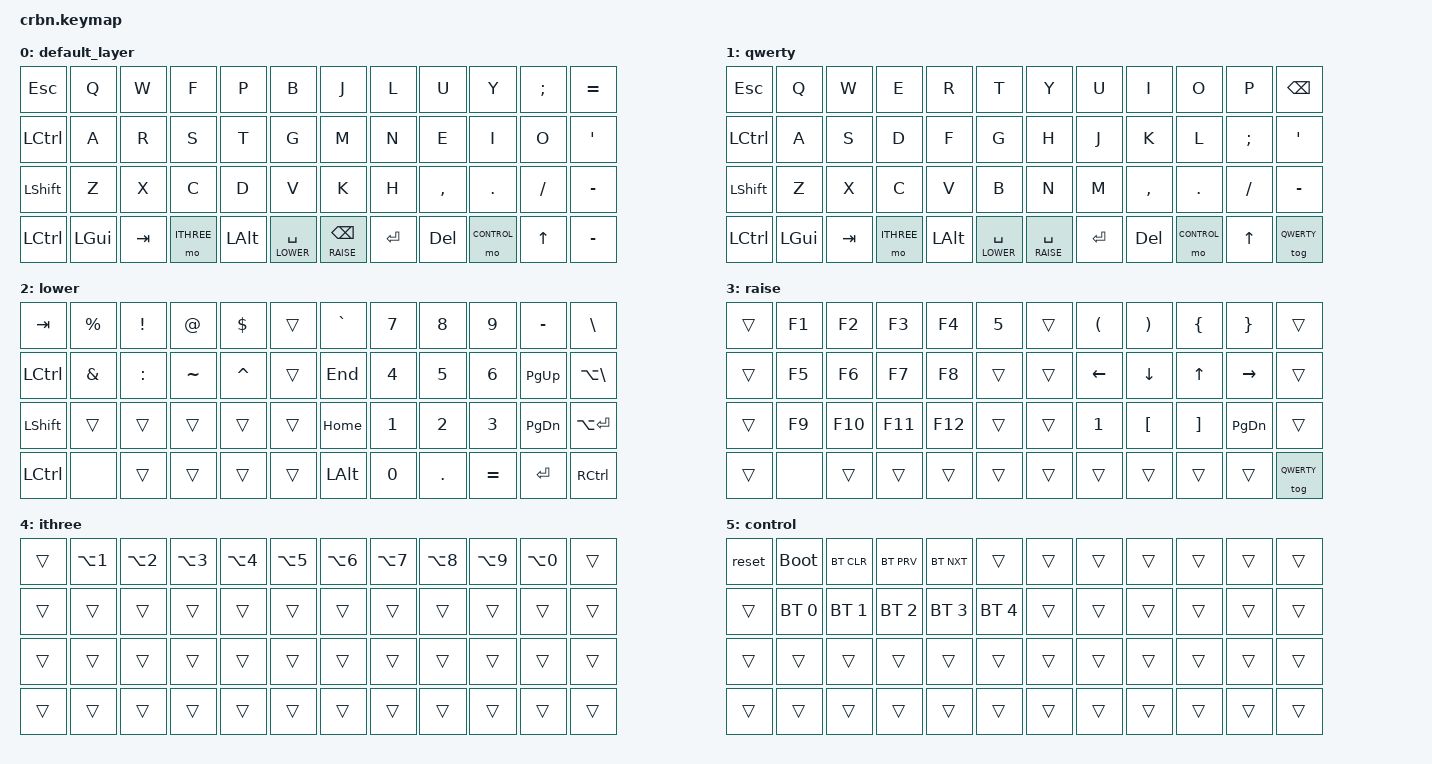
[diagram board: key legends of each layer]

/*
    ____ ____  ____  _   _   _  ____  __ ____
   / ___|  _ \| __ )| \ | | | |/ /  \/  |  _ \
  | |   | |_) |  _ \|  \| | | ' /| |\/| | |_) |
  | |___|  _ <| |_) | |\  | | . \| |  | |  __/
   \____|_| \_\____/|_| \_| |_|\_\_|  |_|_|

 */

/* BLANK LAYER
		blank {
			// -----------------------------------------------------------------------------------------
			// | 	--		|		--		|		--		|		--		|		--		|		--		|		--		|		--		|		--		|		--		|		--		|		--		|	
			// | 	--		|		--		|		--		|		--		|		--		|		--		|		--		|		--		|		--		|		--		|		--		|		--		|	
			// | 	--		|		--		|		--		|		--		|		--		|		--		|		--		|		--		|		--		|		--		|		--		|		--		|	
			// | 	--		|		--		|		--		|		--		|		--		|		--		|		--		|		--		|		--		|		--		|		--		|		--		|	
			bindings = <
				&trans		&trans		&trans		&trans		&trans		&trans		&trans		&trans		&trans		&trans		&trans		&trans
				&trans		&trans		&trans		&trans		&trans		&trans		&trans		&trans		&trans		&trans		&trans		&trans
				&trans		&trans		&trans		&trans		&trans		&trans		&trans		&trans		&trans		&trans		&trans		&trans
				&trans		&trans		&trans		&trans		&trans		&trans		&trans		&trans		&trans		&trans		&trans		&trans
			>;
		};
*/

#include <behaviors.dtsi>
#include <dt-bindings/zmk/keys.h>
#include <dt-bindings/zmk/bt.h>

#define LOWER 2
#define RAISE 3
#define QWERTY 1
#define ITHREE 4
#define CONTROL 5


/ {
	keymap {
		compatible = "zmk,keymap";

		default_layer {
				// -----------------------------------------------------------------------------------------
				// | ESC   |  Q   		|  W   |  E   |  R   |  T   |   Y   	|  U    |  I   |  O   |   P   | BSPC  |
				// | CTRL  |  A   		|  S   |  D   |  F   |  G   |   H   	|  J    |  K   |  L   |   ;   |  '    |
				// | SHIFT |  Z   		|  X   |  C   |  V   |  B   |   N   	|  M    |  ,   |  .   |   /   |  RET  |
				// | CTRL  | NUMBERS 	| LGUI | LCTL | LALT |TH SPACE|TH BSPC| RETURN| LEFT | DOWN  |  UP | RIGHT
			bindings = <
				&kp ESC  		&kp Q    		&kp W 			&kp F 			&kp P 		&kp B  					&kp J   				&kp L  		&kp U    		&kp Y   	&kp SEMI    	&kp EQUAL
				&kp LCTRL  	&kp A    		&kp R 			&kp S 			&kp T 		&kp G  					&kp M   				&kp N  		&kp E    		&kp I   	&kp O 		&kp SQT
				&kp LSHFT 	&kp Z    		&kp X 			&kp C 			&kp D 		&kp V  					&kp K   				&kp H  		&kp COMMA 	&kp DOT 	&kp FSLH 	&kp MINUS
				&kp LCTRL  	&kp LGUI 	  &kp TAB 	&mo ITHREE 	&kp LALT	&lt LOWER SPACE	&lt RAISE BSPC	&kp RET		&kp DELETE 	&mo CONTROL 	&kp UP 		&kp  MINUS
			>;
		};

		qwerty {
			bindings = <
				&kp ESC  		&kp Q    &kp W 			&kp E 		&kp R 		&kp T  					&kp Y   				&kp U  		&kp I     &kp O   &kp P    &kp BSPC
				&kp LCTRL  	&kp A    &kp S 			&kp D 		&kp F 		&kp G  					&kp H   				&kp J  		&kp K     &kp L   &kp SEMI &kp SQT
				&kp LSHFT 	&kp Z    &kp X 			&kp C 		&kp V 		&kp B  					&kp N   				&kp M  		&kp COMMA &kp DOT &kp FSLH &kp MINUS
				&kp LCTRL  	&kp LGUI &kp TAB  &mo ITHREE &kp LALT	&lt LOWER SPACE	&lt RAISE SPACE	&kp RET		&kp DELETE 	&mo CONTROL 	&kp UP 		&tog QWERTY
			>;
		};

		lower {
			// -----------------------------------------------------------------------------------------
			// | TAB   |  %   		|  !   |  @   |  $   |  --  |   ` 	 |  7    |  8   |  9   |   -   | \  |
			// | CTRL  |  &   		|  :   |  ~   |  ^   |  --  |  HOME  |  4    |  5   |  6   | PGUP  |  ALT(\)    |
			// | SHIFT |  --   		|  --  |  --  |  --  |  --  |  END	 |  1    |  2   |  3   | PGDN  |  RET  |
			// | CTRL  |  -- 			|  --  |  --  |  --  | ____ |  LALT	 |  0		 |  . 	|	 =	 |  RET  | RIGHT
			bindings = <
				&kp TAB  		&kp PRCNT 	&kp EXCL		&kp AT 			&kp DLLR 	&trans	&kp GRAVE &kp N7  &kp N8  	&kp N9    	&kp MINUS &kp BSLH
				&kp LCTRL  	&kp AMPS		&kp COLON		&kp TILDE		&kp CARET &trans	&kp END  	&kp N4  &kp N5  	&kp N6    	&kp PG_UP &kp LA(BSLH)
				&kp LSHFT 	&trans    	&trans			&trans			&trans		&trans	&kp HOME  &kp N1  &kp N2  	&kp N3 			&kp PG_DN &kp LA(RET)
				&kp LCTRL  	&none 			&trans 		  &trans			&trans		&trans	&kp LALT	&kp N0	&kp DOT		&kp EQUAL 	&kp RET 	&kp RCTRL
			>;
		};

		raise {
			// -----------------------------------------------------------------------------------------
			// | trans |  F1	|  F2   |  F3   |  F4   |  --  |  --		|  (    |  )   |  {   |   }   | --  |
			// | trans |  F5	|  F6   |  F7   |  F8   |  --  |  --		|  LEFT | DOWN |  UP  | RIGHT | --  |
			// | trans |  F9	|  F10  |  F11  |  F12  |  --  |  --		|  --  	|  [   |  ]   | --    | --  |
			// | trans |  --	|  --   |  --   |  --   | ____ |  ____  |  --	 	|  --  |	 --	 | --		 | QWERTY
			bindings = <
				&trans &kp F1 	&kp F2		&kp F3 		&kp F4 		&kp N5	&trans &kp LPAR &kp RPAR  	&kp LBRC    &kp RBRC 	&trans
				&trans &kp F5		&kp F6		&kp F7		&kp F8 		&trans	&trans &kp LEFT &kp DOWN  	&kp UP    	&kp RIGHT &trans
				&trans &kp F9   &kp F10		&kp F11		&kp F12		&trans	&trans &kp N1  	&kp LBKT  	&kp RBKT 		&kp PG_DN &trans
				&trans &none 		&trans 		&trans		&trans		&trans	&trans &trans 	&trans 			&trans 			&trans 		&tog QWERTY
			>;
		};


		ithree {
			// -----------------------------------------------------------------------------------------
			// | 	--		|		--		|		--		|		--		|		--		|		--		|		--		|		--		|		--		|		--		|		--		|		--		|	
			// | 	--		|		--		|		--		|		--		|		--		|		--		|		--		|		--		|		--		|		--		|		--		|		--		|	
			// | 	--		|		--		|		--		|		--		|		--		|		--		|		--		|		--		|		--		|		--		|		--		|		--		|	
			// | 	--		|		--		|		--		|		--		|		--		|		--		|		--		|		--		|		--		|		--		|		--		|		--		|	
			bindings = <
				&trans		&kp LA(N1)	&kp LA(N2)		&kp LA(N3)		&kp LA(N4)		&kp LA(N5)		&kp LA(N6)		&kp LA(N7)		&kp LA(N8)		&kp LA(N9)		&kp LA(N0)		&trans
				&trans		&trans		&trans		&trans		&trans		&trans		&trans		&trans		&trans		&trans		&trans		&trans
				&trans		&trans		&trans		&trans		&trans		&trans		&trans		&trans		&trans		&trans		&trans		&trans
				&trans		&trans		&trans		&trans		&trans		&trans		&trans		&trans		&trans		&trans		&trans		&trans
			>;
		};

		control {
			bindings = <
				&reset &bootloader &bt BT_CLR &bt BT_PRV &bt BT_NXT &trans &trans &trans &trans &trans &trans &trans
				&trans &bt BT_SEL 0 &bt BT_SEL 1 &bt BT_SEL 2 &bt BT_SEL 3 &bt BT_SEL 4 &trans &trans &trans &trans &trans &trans
				&trans &trans &trans &trans &trans &trans &trans &trans &trans &trans &trans &trans
				&trans &trans &trans &trans &trans &trans &trans &trans &trans &trans &trans &trans
			>;
		};
	};
};
